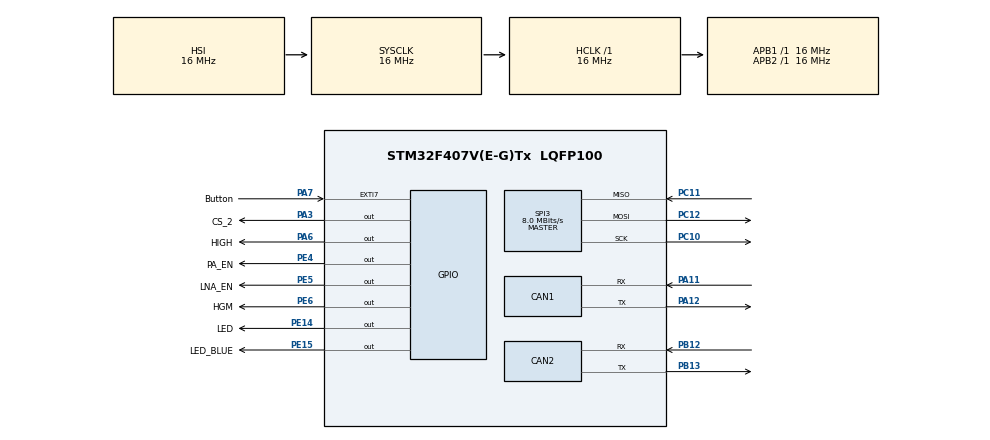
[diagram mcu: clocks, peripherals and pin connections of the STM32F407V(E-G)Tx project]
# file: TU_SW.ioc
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CAN1.CalculateTimeQuantum=1000.0
CAN2.CalculateTimeQuantum=1000.0
Mcu.Family=STM32F4
Mcu.Name=STM32F407V(E-G)Tx
Mcu.Package=LQFP100
NVIC.EXTI9_5_IRQn=true\:0\:0\:false\:false\:true\:true\:true
NVIC.PriorityGroup=NVIC_PRIORITYGROUP_4
PA11.Mode=Master
PA11.Signal=CAN1_RX
PA12.Mode=Master
PA12.Signal=CAN1_TX
PA13.Mode=Serial_Wire
PA13.Signal=SYS_JTMS-SWDIO
PA14.Mode=Serial_Wire
PA14.Signal=SYS_JTCK-SWCLK
PA3.GPIO_Label=CS_2
PA3.Signal=GPIO_Output
PA6.GPIO_Label=HIGH
PA6.PinState=GPIO_PIN_SET
PA6.Signal=GPIO_Output
PA7.GPIO_Label=Button
PA7.GPIO_ModeDefaultEXTI=GPIO_MODE_IT_FALLING
PA7.Signal=GPXTI7
PB12.Mode=Slave
PB12.Signal=CAN2_RX
PB13.Mode=Slave
PB13.Signal=CAN2_TX
PC10.Mode=Full_Duplex_Master
PC10.Signal=SPI3_SCK
PC11.Mode=Full_Duplex_Master
PC11.Signal=SPI3_MISO
PC12.Mode=Full_Duplex_Master
PC12.Signal=SPI3_MOSI
PE14.GPIO_Label=LED
PE14.Signal=GPIO_Output
PE15.GPIO_Label=LED_BLUE
PE15.Signal=GPIO_Output
PE4.GPIO_Label=PA_EN
PE4.PinState=GPIO_PIN_SET
PE4.Signal=GPIO_Output
PE5.GPIO_Label=LNA_EN
PE5.PinState=GPIO_PIN_RESET
PE5.Signal=GPIO_Output
PE6.GPIO_Label=HGM
PE6.PinState=GPIO_PIN_SET
PE6.Signal=GPIO_Output
ProjectManager.HeapSize=0x200
ProjectManager.StackSize=0x400
ProjectManager.TargetToolchain=STM32CubeIDE
RCC.AHBFreq_Value=16000000
RCC.APB1Freq_Value=16000000
RCC.APB2Freq_Value=16000000
RCC.CortexFreq_Value=16000000
RCC.HSE_VALUE=25000000
RCC.HSI_VALUE=16000000
RCC.LSE_VALUE=32768
RCC.SYSCLKFreq_VALUE=16000000
RCC.VCOOutputFreq_Value=192000000
SPI3.CalculateBaudRate=8.0 MBits/s
SPI3.Direction=SPI_DIRECTION_2LINES
SPI3.Mode=SPI_MODE_MASTER
SPI3.VirtualType=VM_MASTER
board=custom

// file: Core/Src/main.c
/* USER CODE BEGIN Header */
/**
  ******************************************************************************
  * @file           : main.c
  * @brief          : Main program body
  ******************************************************************************
  * @attention
  *
  * <h2><center>&copy; Copyright (c) 2021 STMicroelectronics.
  * All rights reserved.</center></h2>
  *
  * This software component is licensed by ST under BSD 3-Clause license,
  * the "License"; You may not use this file except in compliance with the
  * License. You may obtain a copy of the License at:
  *                        opensource.org/licenses/BSD-3-Clause
  *
  ******************************************************************************
  */
/* USER CODE END Header */

#include "main.h"

CAN_HandleTypeDef hcan1;
CAN_HandleTypeDef hcan2;

SPI_HandleTypeDef hspi3;

/* USER CODE BEGIN PV */
int state = 2;
/* USER CODE END PV */

void SystemClock_Config(void);
static void MX_GPIO_Init(void);
static void MX_CAN1_Init(void);
static void MX_CAN2_Init(void);
static void MX_SPI3_Init(void);

int main(void)
{

  /* MCU Configuration--------------------------------------------------------*/

  /* Reset of all peripherals, Initializes the Flash interface and the Systick. */
  HAL_Init();

  /* Configure the system clock */
  SystemClock_Config();

  /* Initialize all configured peripherals */
  MX_GPIO_Init();
  MX_CAN1_Init();
  MX_CAN2_Init();
  MX_SPI3_Init();
  /* USER CODE BEGIN 2 */
  	HAL_GPIO_WritePin(LED_BLUE_GPIO_Port, LED_BLUE_Pin, GPIO_PIN_SET);
	HAL_GPIO_WritePin(PA_EN_GPIO_Port, PA_EN_Pin, GPIO_PIN_SET);
	HAL_GPIO_WritePin(LNA_EN_GPIO_Port, LNA_EN_Pin, GPIO_PIN_RESET);
  /* USER CODE END 2 */

  /* Infinite loop */
  /* USER CODE BEGIN WHILE */
  while (1)
  {
	 HAL_GPIO_TogglePin(LED_GPIO_Port, LED_Pin);
	 HAL_Delay(3000);
    /* USER CODE END WHILE */

  }
}

void SystemClock_Config(void)
{
  RCC_OscInitTypeDef RCC_OscInitStruct = {0};
  RCC_ClkInitTypeDef RCC_ClkInitStruct = {0};

  /** Configure the main internal regulator output voltage
  */
  __HAL_RCC_PWR_CLK_ENABLE();
  __HAL_PWR_VOLTAGESCALING_CONFIG(PWR_REGULATOR_VOLTAGE_SCALE1);
  /** Initializes the CPU, AHB and APB busses clocks
  */
  RCC_OscInitStruct.OscillatorType = RCC_OSCILLATORTYPE_HSI;
  RCC_OscInitStruct.HSIState = RCC_HSI_ON;
  RCC_OscInitStruct.HSICalibrationValue = RCC_HSICALIBRATION_DEFAULT;
  RCC_OscInitStruct.PLL.PLLState = RCC_PLL_NONE;
  if (HAL_RCC_OscConfig(&RCC_OscInitStruct) != HAL_OK)
  {
    Error_Handler();
  }
  /** Initializes the CPU, AHB and APB busses clocks
  */
  RCC_ClkInitStruct.ClockType = RCC_CLOCKTYPE_HCLK|RCC_CLOCKTYPE_SYSCLK
                              |RCC_CLOCKTYPE_PCLK1|RCC_CLOCKTYPE_PCLK2;
  RCC_ClkInitStruct.SYSCLKSource = RCC_SYSCLKSOURCE_HSI;
  RCC_ClkInitStruct.AHBCLKDivider = RCC_SYSCLK_DIV1;
  RCC_ClkInitStruct.APB1CLKDivider = RCC_HCLK_DIV1;
  RCC_ClkInitStruct.APB2CLKDivider = RCC_HCLK_DIV1;

  if (HAL_RCC_ClockConfig(&RCC_ClkInitStruct, FLASH_LATENCY_0) != HAL_OK)
  {
    Error_Handler();
  }
}

static void MX_CAN1_Init(void)
{

  hcan1.Instance = CAN1;
  hcan1.Init.Prescaler = 16;
  hcan1.Init.Mode = CAN_MODE_NORMAL;
  hcan1.Init.SyncJumpWidth = CAN_SJW_1TQ;
  hcan1.Init.TimeSeg1 = CAN_BS1_1TQ;
  hcan1.Init.TimeSeg2 = CAN_BS2_1TQ;
  hcan1.Init.TimeTriggeredMode = DISABLE;
  hcan1.Init.AutoBusOff = DISABLE;
  hcan1.Init.AutoWakeUp = DISABLE;
  hcan1.Init.AutoRetransmission = DISABLE;
  hcan1.Init.ReceiveFifoLocked = DISABLE;
  hcan1.Init.TransmitFifoPriority = DISABLE;
  if (HAL_CAN_Init(&hcan1) != HAL_OK)
  {
    Error_Handler();
  }

}

static void MX_CAN2_Init(void)
{

  hcan2.Instance = CAN2;
  hcan2.Init.Prescaler = 16;
  hcan2.Init.Mode = CAN_MODE_NORMAL;
  hcan2.Init.SyncJumpWidth = CAN_SJW_1TQ;
  hcan2.Init.TimeSeg1 = CAN_BS1_1TQ;
  hcan2.Init.TimeSeg2 = CAN_BS2_1TQ;
  hcan2.Init.TimeTriggeredMode = DISABLE;
  hcan2.Init.AutoBusOff = DISABLE;
  hcan2.Init.AutoWakeUp = DISABLE;
  hcan2.Init.AutoRetransmission = DISABLE;
  hcan2.Init.ReceiveFifoLocked = DISABLE;
  hcan2.Init.TransmitFifoPriority = DISABLE;
  if (HAL_CAN_Init(&hcan2) != HAL_OK)
  {
    Error_Handler();
  }

}

static void MX_SPI3_Init(void)
{

  /* SPI3 parameter configuration*/
  hspi3.Instance = SPI3;
  hspi3.Init.Mode = SPI_MODE_MASTER;
  hspi3.Init.Direction = SPI_DIRECTION_2LINES;
  hspi3.Init.DataSize = SPI_DATASIZE_8BIT;
  hspi3.Init.CLKPolarity = SPI_POLARITY_LOW;
  hspi3.Init.CLKPhase = SPI_PHASE_1EDGE;
  hspi3.Init.NSS = SPI_NSS_SOFT;
  hspi3.Init.BaudRatePrescaler = SPI_BAUDRATEPRESCALER_2;
  hspi3.Init.FirstBit = SPI_FIRSTBIT_MSB;
  hspi3.Init.TIMode = SPI_TIMODE_DISABLE;
  hspi3.Init.CRCCalculation = SPI_CRCCALCULATION_DISABLE;
  hspi3.Init.CRCPolynomial = 10;
  if (HAL_SPI_Init(&hspi3) != HAL_OK)
  {
    Error_Handler();
  }

}

static void MX_GPIO_Init(void)
{
  GPIO_InitTypeDef GPIO_InitStruct = {0};

  /* GPIO Ports Clock Enable */
  __HAL_RCC_GPIOE_CLK_ENABLE();
  __HAL_RCC_GPIOA_CLK_ENABLE();
  __HAL_RCC_GPIOB_CLK_ENABLE();
  __HAL_RCC_GPIOC_CLK_ENABLE();

  /*Configure GPIO pin Output Level */
  HAL_GPIO_WritePin(GPIOE, PA_EN_Pin|HGM_Pin, GPIO_PIN_SET);

  /*Configure GPIO pin Output Level */
  HAL_GPIO_WritePin(GPIOE, LNA_EN_Pin|LED_Pin|LED_BLUE_Pin, GPIO_PIN_RESET);

  /*Configure GPIO pin Output Level */
  HAL_GPIO_WritePin(CS_2_GPIO_Port, CS_2_Pin, GPIO_PIN_RESET);

  /*Configure GPIO pin Output Level */
  HAL_GPIO_WritePin(HIGH_GPIO_Port, HIGH_Pin, GPIO_PIN_SET);

  /*Configure GPIO pins : PA_EN_Pin LNA_EN_Pin HGM_Pin LED_Pin
                           LED_BLUE_Pin */
  GPIO_InitStruct.Pin = PA_EN_Pin|LNA_EN_Pin|HGM_Pin|LED_Pin
                          |LED_BLUE_Pin;
  GPIO_InitStruct.Mode = GPIO_MODE_OUTPUT_PP;
  GPIO_InitStruct.Pull = GPIO_NOPULL;
  GPIO_InitStruct.Speed = GPIO_SPEED_FREQ_LOW;
  HAL_GPIO_Init(GPIOE, &GPIO_InitStruct);

  /*Configure GPIO pins : CS_2_Pin HIGH_Pin */
  GPIO_InitStruct.Pin = CS_2_Pin|HIGH_Pin;
  GPIO_InitStruct.Mode = GPIO_MODE_OUTPUT_PP;
  GPIO_InitStruct.Pull = GPIO_NOPULL;
  GPIO_InitStruct.Speed = GPIO_SPEED_FREQ_LOW;
  HAL_GPIO_Init(GPIOA, &GPIO_InitStruct);

  /*Configure GPIO pin : Button_Pin */
  GPIO_InitStruct.Pin = Button_Pin;
  GPIO_InitStruct.Mode = GPIO_MODE_IT_FALLING;
  GPIO_InitStruct.Pull = GPIO_NOPULL;
  HAL_GPIO_Init(Button_GPIO_Port, &GPIO_InitStruct);

  /* EXTI interrupt init*/
  HAL_NVIC_SetPriority(EXTI9_5_IRQn, 0, 0);
  HAL_NVIC_EnableIRQ(EXTI9_5_IRQn);

}

/* USER CODE BEGIN 4 */
void  HAL_GPIO_EXTI_Callback(uint16_t GPIO_Pin){

	if (GPIO_Pin == Button_Pin) {
			if (state == 1){
				state =2;
				HAL_GPIO_WritePin(LED_BLUE_GPIO_Port, LED_BLUE_Pin, GPIO_PIN_SET);
				HAL_GPIO_WritePin(PA_EN_GPIO_Port, PA_EN_Pin, GPIO_PIN_SET);
				HAL_GPIO_WritePin(LNA_EN_GPIO_Port, LNA_EN_Pin, GPIO_PIN_RESET);
				  }
			else {
				state = 1;
				HAL_GPIO_WritePin(LED_BLUE_GPIO_Port, LED_BLUE_Pin, GPIO_PIN_RESET);
				HAL_GPIO_WritePin(PA_EN_GPIO_Port, PA_EN_Pin, GPIO_PIN_RESET);
				HAL_GPIO_WritePin(LNA_EN_GPIO_Port, LNA_EN_Pin, GPIO_PIN_SET);
			}
	}
}
/* USER CODE END 4 */

void Error_Handler(void)
{
}

/************************ (C) COPYRIGHT STMicroelectronics *****END OF FILE****/
